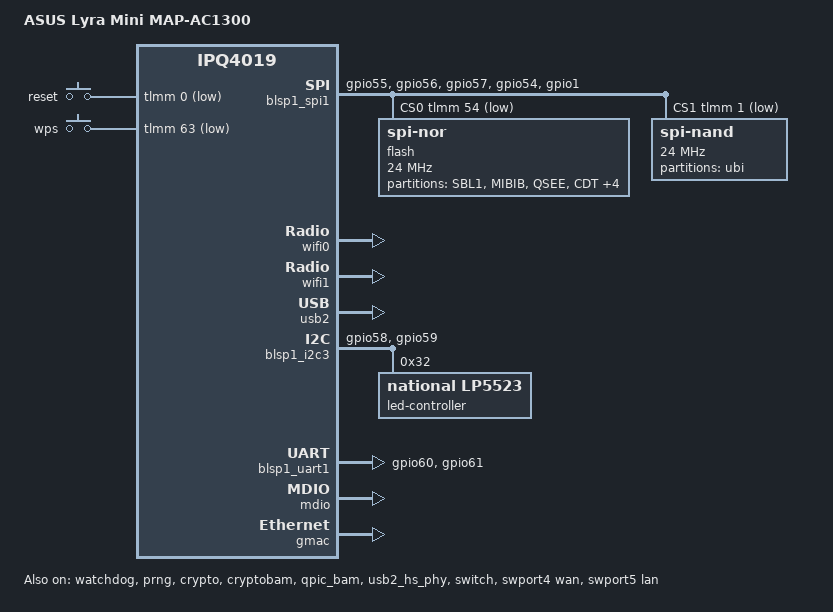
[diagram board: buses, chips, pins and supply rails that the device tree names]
// SPDX-License-Identifier: GPL-2.0-or-later OR MIT

#include "qcom-ipq4019.dtsi"
#include <dt-bindings/gpio/gpio.h>
#include <dt-bindings/input/input.h>
#include <dt-bindings/soc/qcom,tcsr.h>
#include <dt-bindings/leds/common.h>

/ {
	model = "ASUS Lyra Mini MAP-AC1300";
	compatible = "asus,map-ac1300";

	aliases {
		led-boot = &led_blue0;
		led-failsafe = &led_red0;
		led-running = &led_blue0;
		led-upgrade = &led_red0;
		ethernet1 = &swport4;
		label-mac-device = &wifi0;
	};

	soc {
		tcsr@1949000 {
			compatible = "qcom,tcsr";
			reg = <0x1949000 0x100>;
			qcom,wifi_glb_cfg = <TCSR_WIFI_GLB_CFG>;
		};

		tcsr@194b000 {
			compatible = "qcom,tcsr";
			reg = <0x194b000 0x100>;
			qcom,usb-hsphy-mode-select = <TCSR_USB_HSPHY_HOST_MODE>;
		};

		ess_tcsr@1953000 {
			compatible = "qcom,tcsr";
			reg = <0x1953000 0x1000>;
			qcom,ess-interface-select = <TCSR_ESS_PSGMII>;
		};

		tcsr@1957000 {
			compatible = "qcom,tcsr";
			reg = <0x1957000 0x100>;
			qcom,wifi_noc_memtype_m0_m2 = <TCSR_WIFI_NOC_MEMTYPE_M0_M2>;
		};
	};

	keys {
		compatible = "gpio-keys";

		reset {
			label = "reset";
			gpios = <&tlmm 0 GPIO_ACTIVE_LOW>;
			linux,code = <KEY_RESTART>;
		};

		wps {
			label = "wps";
			gpios = <&tlmm 63 GPIO_ACTIVE_LOW>;
			linux,code = <KEY_WPS_BUTTON>;
		};
	};
};

&watchdog {
	status = "okay";
};

&prng {
	status = "okay";
};

&crypto {
	status = "okay";
};

&blsp1_spi1 {
	status = "okay";

	pinctrl-0 = <&spi_0_pins>;
	pinctrl-names = "default";
	cs-gpios = <&tlmm 54 GPIO_ACTIVE_LOW>,
		   <&tlmm 1 GPIO_ACTIVE_LOW>;

	flash@0 {
		/*
		 * U-boot looks for "n25q128a11" node,
		 * if we don't have it, it will spit out the following warning:
		 * "ipq: fdt fixup unable to find compatible node".
		 */
		compatible = "jedec,spi-nor";
		reg = <0>;
		linux,modalias = "m25p80", "mx25l1606e", "n25q128a11";
		spi-max-frequency = <24000000>;

		partitions {
			compatible = "fixed-partitions";
			#address-cells = <1>;
			#size-cells = <1>;

			partition@0 {
				label = "SBL1";
				reg = <0x00000000 0x00040000>;
				read-only;
			};
			partition@40000 {
				label = "MIBIB";
				reg = <0x00040000 0x00020000>;
				read-only;
			};
			partition@60000 {
				label = "QSEE";
				reg = <0x00060000 0x00060000>;
				read-only;
			};
			partition@c0000 {
				label = "CDT";
				reg = <0x000c0000 0x00010000>;
				read-only;
			};
			partition@d0000 {
				label = "DDRPARAMS";
				reg = <0x000d0000 0x00010000>;
				read-only;
			};
			partition@e0000 {
				label = "APPSBLENV"; /* uboot env*/
				reg = <0x000e0000 0x00010000>;
				read-only;
			};
			partition@f0000 {
				label = "APPSBL"; /* uboot */
				reg = <0x000f0000 0x00080000>;
				read-only;
			};
			partition@170000 {
				label = "ART";
				reg = <0x00170000 0x00010000>;
				read-only;
			};
			/* 0x00180000 - 0x00200000 unused */
		};
	};

	spi-nand@1 {
		compatible = "spi-nand";
		reg = <1>;
		spi-max-frequency = <24000000>;

		partitions {
			compatible = "fixed-partitions";
			#address-cells = <1>;
			#size-cells = <1>;

			partition@0 {
				compatible = "linux,ubi";
				reg = <0x00000000 0x08000000>;
				label = "ubi";

				volumes {
					ubi_factory: ubi-volume-factory {
						volname = "Factory";
					};
				};
			};
		};
	};
};

&ubi_factory {
	nvmem-layout {
		compatible = "fixed-layout";
		#address-cells = <1>;
		#size-cells = <1>;

		precal_factory_1000: precal@1000 {
			reg = <0x1000 0x2f20>;
		};

		macaddr_factory_1006: macaddr@1006 {
			reg = <0x1006 0x6>;
		};

		precal_factory_5000: precal@5000 {
			reg = <0x5000 0x2f20>;
		};

		macaddr_factory_5006: macaddr@5006 {
			reg = <0x5006 0x6>;
		};
	};
};

&tlmm {
	i2c_0_pins: i2c_0_pinmux {
		pinmux {
			function = "blsp_i2c0";
			pins = "gpio58", "gpio59";
			drive-strength = <16>;
			bias-disable;
		};
	};

	serial_pins: serial_pinmux {
		mux {
			pins = "gpio60", "gpio61";
			function = "blsp_uart0";
			bias-disable;
		};
	};

	spi_0_pins: spi_0_pinmux {
		mux {
			function = "blsp_spi0";
			pins = "gpio55", "gpio56", "gpio57";
			drive-strength = <12>;
			bias-disable;
		};

		mux_cs {
			function = "gpio";
			pins = "gpio54", "gpio1";
			drive-strength = <2>;
			bias-disable;
			output-high;
		};
	};
};

&cryptobam {
	status = "okay";
};

&blsp_dma {
	status = "okay";
};

&qpic_bam {
	status = "okay";
};

&wifi0 {
	status = "okay";

	nvmem-cell-names = "pre-calibration";
	nvmem-cells = <&precal_factory_1000>;
	qcom,ath10k-calibration-variant = "ASUS-MAP-AC1300";
};

&wifi1 {
	status = "okay";

	nvmem-cell-names = "pre-calibration";
	nvmem-cells = <&precal_factory_5000>;
	qcom,ath10k-calibration-variant = "ASUS-MAP-AC1300";
};

&usb2_hs_phy {
	/* Bluetooth module attached via USB */
	status = "okay";
};

&usb2 {
	status = "okay";
};

&blsp1_i2c3 {
	status = "okay";

	pinctrl-0 = <&i2c_0_pins>;
	pinctrl-names = "default";

	led-controller@32 {
		/* 9-channel RGB LED controller */
		compatible = "national,lp5523";
		reg = <0x32>;
		clock-mode = /bits/ 8 <1>;
		#address-cells = <1>;
		#size-cells = <0>;

		/*
		 * There is only one single extremely bright RGB-LED.
		 * The RGB-color channels are running in parallel to
		 * increase the current delivery capabilities beyond
		 * what a single PWM-output of the controller can do.
		 */

		led_blue0: led@0 {
			chan-name = "blue-0";
			led-cur = /bits/ 8 <0x80>;
			max-cur = /bits/ 8 <0xff>;
			reg = <0>;
			color = <LED_COLOR_ID_BLUE>;
			function-enumerator = <0>;
		};

		led@1 {
			chan-name = "blue-1";
			led-cur = /bits/ 8 <0x80>;
			max-cur = /bits/ 8 <0xff>;
			reg = <1>;
			color = <LED_COLOR_ID_BLUE>;
			function-enumerator = <1>;
		};

		led@2 {
			chan-name = "blue-2";
			led-cur = /bits/ 8 <0x80>;
			max-cur = /bits/ 8 <0xff>;
			reg = <2>;
			color = <LED_COLOR_ID_BLUE>;
			function-enumerator = <2>;
		};

		led_green0: led@3 {
			chan-name = "green-0";
			led-cur = /bits/ 8 <0x80>;
			max-cur = /bits/ 8 <0xff>;
			reg = <3>;
			color = <LED_COLOR_ID_GREEN>;
			function-enumerator = <0>;
		};

		led@4 {
			chan-name = "green-1";
			led-cur = /bits/ 8 <0x80>;
			max-cur = /bits/ 8 <0xff>;
			reg = <4>;
			color = <LED_COLOR_ID_GREEN>;
			function-enumerator = <1>;
		};

		led@5 {
			chan-name = "green-2";
			led-cur = /bits/ 8 <0x80>;
			max-cur = /bits/ 8 <0xff>;
			reg = <5>;
			color = <LED_COLOR_ID_GREEN>;
			function-enumerator = <2>;
		};

		led_red0: led@6 {
			chan-name = "red-0";
			led-cur = /bits/ 8 <0x80>;
			max-cur = /bits/ 8 <0xff>;
			reg = <6>;
			color = <LED_COLOR_ID_RED>;
			function-enumerator = <0>;
		};

		led@7 {
			chan-name = "red-1";
			led-cur = /bits/ 8 <0x80>;
			max-cur = /bits/ 8 <0xff>;
			reg = <7>;
			color = <LED_COLOR_ID_RED>;
			function-enumerator = <1>;
		};

		led@8 {
			chan-name = "red-2";
			led-cur = /bits/ 8 <0x80>;
			max-cur = /bits/ 8 <0xff>;
			reg = <8>;
			color = <LED_COLOR_ID_RED>;
			function-enumerator = <2>;
		};
	};
};

&blsp1_uart1 {
	status = "okay";

	pinctrl-0 = <&serial_pins>;
	pinctrl-names = "default";
};

&mdio {
	status = "okay";
};

&gmac {
	status = "okay";

	nvmem-cells = <&macaddr_factory_1006 1>;
	nvmem-cell-names = "mac-address";
};

&switch {
	status = "okay";
};

&swport4 {
	status = "okay";

	label = "wan";
	nvmem-cells = <&macaddr_factory_1006 3>;
	nvmem-cell-names = "mac-address";
};

&swport5 {
	status = "okay";

	label = "lan";
};
